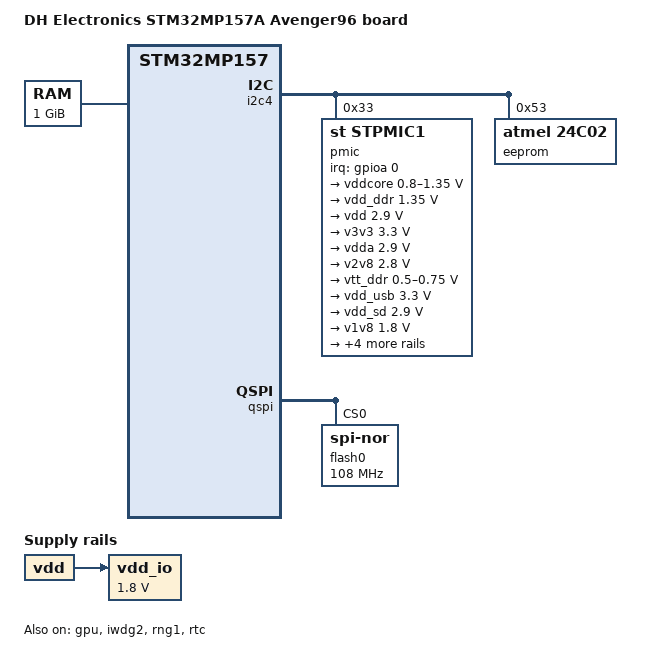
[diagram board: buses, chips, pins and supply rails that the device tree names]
// SPDX-License-Identifier: (GPL-2.0 OR BSD-3-Clause)
/*
 * Copyright (C) Linaro Ltd 2019 - All Rights Reserved
 * Author: Manivannan Sadhasivam <manivannan.sadhasivam@linaro.org>
 * Copyright (C) 2020 Marek Vasut <marex@denx.de>
 */

#include "stm32mp157c.dtsi"
#include "stm32mp157xac-pinctrl.dtsi"
#include <dt-bindings/gpio/gpio.h>
#include <dt-bindings/mfd/st,stpmic1.h>

/ {
	model = "DH Electronics STM32MP157A Avenger96 board";
	compatible = "arrow,stm32mp157a-avenger96", "st,stm32mp157";

	aliases {
		spi0 = &qspi;
	};

	memory@c0000000 {
		device_type = "memory";
		reg = <0xc0000000 0x40000000>;
	};

	/* Enpirion EP3A8LQI U2 on the DHCOR */
	vdd_io: regulator-buck-io {
		compatible = "regulator-fixed";
		regulator-name = "buck-io";
		regulator-min-microvolt = <1800000>;
		regulator-max-microvolt = <1800000>;
		regulator-always-on;
		regulator-boot-on;
		vin-supply = <&vdd>;
	};
};

&gpu {
	status = "okay";
};

&i2c4 {
	pinctrl-names = "default";
	pinctrl-0 = <&i2c4_pins_a>;
	i2c-scl-rising-time-ns = <185>;
	i2c-scl-falling-time-ns = <20>;
	status = "okay";
	/delete-property/dmas;
	/delete-property/dma-names;

	pmic: stpmic@33 {
		compatible = "st,stpmic1";
		reg = <0x33>;
		interrupts-extended = <&gpioa 0 IRQ_TYPE_EDGE_FALLING>;
		interrupt-controller;
		#interrupt-cells = <2>;
		status = "okay";

		regulators {
			compatible = "st,stpmic1-regulators";

			ldo1-supply = <&v3v3>;
			ldo2-supply = <&v3v3>;
			ldo3-supply = <&vdd_ddr>;
			ldo5-supply = <&v3v3>;
			ldo6-supply = <&v3v3>;
			pwr_sw1-supply = <&bst_out>;
			pwr_sw2-supply = <&bst_out>;

			vddcore: buck1 {
				regulator-name = "vddcore";
				regulator-min-microvolt = <800000>;
				regulator-max-microvolt = <1350000>;
				regulator-always-on;
				regulator-initial-mode = <0>;
				regulator-over-current-protection;
			};

			vdd_ddr: buck2 {
				regulator-name = "vdd_ddr";
				regulator-min-microvolt = <1350000>;
				regulator-max-microvolt = <1350000>;
				regulator-always-on;
				regulator-initial-mode = <0>;
				regulator-over-current-protection;
			};

			vdd: buck3 {
				regulator-name = "vdd";
				regulator-min-microvolt = <2900000>;
				regulator-max-microvolt = <2900000>;
				regulator-always-on;
				st,mask_reset;
				regulator-initial-mode = <0>;
				regulator-over-current-protection;
			};

			v3v3: buck4 {
				regulator-name = "v3v3";
				regulator-min-microvolt = <3300000>;
				regulator-max-microvolt = <3300000>;
				regulator-always-on;
				regulator-over-current-protection;
				regulator-initial-mode = <0>;
			};

			vdda: ldo1 {
				regulator-name = "vdda";
				regulator-min-microvolt = <2900000>;
				regulator-max-microvolt = <2900000>;
				interrupts = <IT_CURLIM_LDO1 0>;
			};

			v2v8: ldo2 {
				regulator-name = "v2v8";
				regulator-min-microvolt = <2800000>;
				regulator-max-microvolt = <2800000>;
				interrupts = <IT_CURLIM_LDO2 0>;
			};

			vtt_ddr: ldo3 {
				regulator-name = "vtt_ddr";
				regulator-min-microvolt = <500000>;
				regulator-max-microvolt = <750000>;
				regulator-always-on;
				regulator-over-current-protection;
			};

			vdd_usb: ldo4 {
				regulator-name = "vdd_usb";
				regulator-min-microvolt = <3300000>;
				regulator-max-microvolt = <3300000>;
				interrupts = <IT_CURLIM_LDO4 0>;
			};

			vdd_sd: ldo5 {
				regulator-name = "vdd_sd";
				regulator-min-microvolt = <2900000>;
				regulator-max-microvolt = <2900000>;
				interrupts = <IT_CURLIM_LDO5 0>;
				regulator-boot-on;
			};

			v1v8: ldo6 {
				regulator-name = "v1v8";
				regulator-min-microvolt = <1800000>;
				regulator-max-microvolt = <1800000>;
				interrupts = <IT_CURLIM_LDO6 0>;
				regulator-enable-ramp-delay = <300000>;
			};

			vref_ddr: vref_ddr {
				regulator-name = "vref_ddr";
				regulator-always-on;
				regulator-over-current-protection;
			};

			bst_out: boost {
				regulator-name = "bst_out";
				interrupts = <IT_OCP_BOOST 0>;
			};

			vbus_otg: pwr_sw1 {
				regulator-name = "vbus_otg";
				interrupts = <IT_OCP_OTG 0>;
				regulator-active-discharge;
			};

			vbus_sw: pwr_sw2 {
				regulator-name = "vbus_sw";
				interrupts = <IT_OCP_SWOUT 0>;
				regulator-active-discharge;
			};
		};

		onkey {
			compatible = "st,stpmic1-onkey";
			interrupts = <IT_PONKEY_F 0>, <IT_PONKEY_R 1>;
			interrupt-names = "onkey-falling", "onkey-rising";
			status = "okay";
		};

		watchdog {
			compatible = "st,stpmic1-wdt";
			status = "disabled";
		};
	};

	eeprom@53 {
		compatible = "atmel,24c02";
		reg = <0x53>;
		pagesize = <16>;
	};
};

&iwdg2 {
	timeout-sec = <32>;
	status = "okay";
};

&pwr_regulators {
	vdd-supply = <&vdd_io>;
	vdd_3v3_usbfs-supply = <&vdd_usb>;
};

&qspi {
	pinctrl-names = "default", "sleep";
	pinctrl-0 = <&qspi_clk_pins_a &qspi_bk1_pins_a>;
	pinctrl-1 = <&qspi_clk_sleep_pins_a &qspi_bk1_sleep_pins_a>;
	reg = <0x58003000 0x1000>, <0x70000000 0x200000>;
	#address-cells = <1>;
	#size-cells = <0>;
	status = "okay";

	flash0: spi-flash@0 {
		compatible = "jedec,spi-nor";
		reg = <0>;
		spi-rx-bus-width = <4>;
		spi-max-frequency = <108000000>;
		#address-cells = <1>;
		#size-cells = <1>;
	};
};

&rng1 {
	status = "okay";
};

&rtc {
	status = "okay";
};
